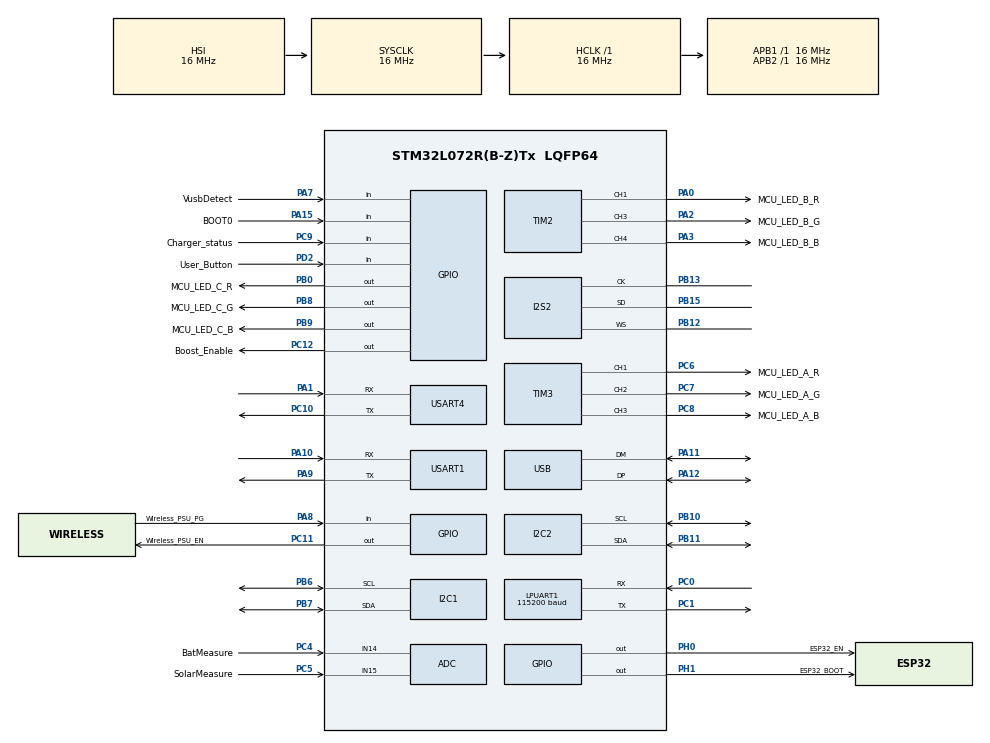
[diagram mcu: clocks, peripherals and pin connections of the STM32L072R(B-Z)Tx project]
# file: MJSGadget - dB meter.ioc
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ADC.DiscontinuousConvMode=ENABLE
Dma.I2C1_RX.1.Direction=DMA_PERIPH_TO_MEMORY
Dma.I2C1_RX.1.Instance=DMA1_Channel3
Dma.I2C1_RX.1.MemDataAlignment=DMA_MDATAALIGN_BYTE
Dma.I2C1_RX.1.MemInc=DMA_MINC_ENABLE
Dma.I2C1_RX.1.Mode=DMA_NORMAL
Dma.I2C1_RX.1.PeriphDataAlignment=DMA_PDATAALIGN_BYTE
Dma.I2C1_RX.1.PeriphInc=DMA_PINC_DISABLE
Dma.I2C1_RX.1.Priority=DMA_PRIORITY_LOW
Dma.I2C1_TX.2.Direction=DMA_MEMORY_TO_PERIPH
Dma.I2C1_TX.2.Instance=DMA1_Channel2
Dma.I2C1_TX.2.MemDataAlignment=DMA_MDATAALIGN_BYTE
Dma.I2C1_TX.2.MemInc=DMA_MINC_ENABLE
Dma.I2C1_TX.2.Mode=DMA_NORMAL
Dma.I2C1_TX.2.PeriphDataAlignment=DMA_PDATAALIGN_BYTE
Dma.I2C1_TX.2.PeriphInc=DMA_PINC_DISABLE
Dma.I2C1_TX.2.Priority=DMA_PRIORITY_LOW
Dma.Request0=SPI2_RX
Dma.Request1=I2C1_RX
Dma.Request2=I2C1_TX
Dma.Request3=USART4_RX
Dma.Request4=USART4_TX
Dma.SPI2_RX.0.Direction=DMA_PERIPH_TO_MEMORY
Dma.SPI2_RX.0.Instance=DMA1_Channel4
Dma.SPI2_RX.0.MemDataAlignment=DMA_MDATAALIGN_HALFWORD
Dma.SPI2_RX.0.MemInc=DMA_MINC_ENABLE
Dma.SPI2_RX.0.Mode=DMA_CIRCULAR
Dma.SPI2_RX.0.PeriphDataAlignment=DMA_PDATAALIGN_HALFWORD
Dma.SPI2_RX.0.PeriphInc=DMA_PINC_DISABLE
Dma.SPI2_RX.0.Priority=DMA_PRIORITY_LOW
Dma.USART4_RX.3.Direction=DMA_PERIPH_TO_MEMORY
Dma.USART4_RX.3.Instance=DMA1_Channel6
Dma.USART4_RX.3.MemDataAlignment=DMA_MDATAALIGN_BYTE
Dma.USART4_RX.3.MemInc=DMA_MINC_ENABLE
Dma.USART4_RX.3.Mode=DMA_CIRCULAR
Dma.USART4_RX.3.PeriphDataAlignment=DMA_PDATAALIGN_BYTE
Dma.USART4_RX.3.PeriphInc=DMA_PINC_DISABLE
Dma.USART4_RX.3.Priority=DMA_PRIORITY_LOW
Dma.USART4_TX.4.Direction=DMA_MEMORY_TO_PERIPH
Dma.USART4_TX.4.Instance=DMA1_Channel7
Dma.USART4_TX.4.MemDataAlignment=DMA_MDATAALIGN_BYTE
Dma.USART4_TX.4.MemInc=DMA_MINC_ENABLE
Dma.USART4_TX.4.Mode=DMA_NORMAL
Dma.USART4_TX.4.PeriphDataAlignment=DMA_PDATAALIGN_BYTE
Dma.USART4_TX.4.PeriphInc=DMA_PINC_DISABLE
Dma.USART4_TX.4.Priority=DMA_PRIORITY_LOW
I2C1.Timing=0x00503D58
I2C2.Timing=0x00503D58
I2S2.AudioFreq=I2S_AUDIOFREQ_16K
I2S2.CPOL=I2S_CPOL_LOW
I2S2.DataFormat=I2S_DATAFORMAT_24B
I2S2.ErrorAudioFreq=-2.34 %
I2S2.Instance=SPI$Index
I2S2.Mode=I2S_MODE_MASTER_RX
I2S2.RealAudioFreq=15.625 KHz
I2S2.Standard=I2S_STANDARD_PHILIPS
I2S2.VirtualMode=I2S_MODE_MASTER
LPUART1.BaudRate=115200
LPUART1.OverrunDisableParam=UART_ADVFEATURE_OVERRUN_DISABLE
LPUART1.SwapParam=UART_ADVFEATURE_SWAP_ENABLE
LPUART1.WordLength=UART_WORDLENGTH_8B
Mcu.Family=STM32L0
Mcu.Name=STM32L072R(B-Z)Tx
Mcu.Package=LQFP64
NVIC.DMA1_Channel2_3_IRQn=true\:0\:0\:false\:false\:true\:false\:true\:true
NVIC.DMA1_Channel4_5_6_7_IRQn=true\:3\:0\:true\:false\:true\:false\:true\:true
NVIC.I2C1_IRQn=true\:0\:0\:false\:false\:true\:true\:true\:true
NVIC.RTC_IRQn=true\:0\:0\:false\:false\:true\:true\:true\:true
NVIC.USART1_IRQn=true\:0\:0\:false\:false\:true\:true\:true\:true
NVIC.USART4_5_IRQn=true\:0\:0\:false\:false\:true\:true\:true\:true
NVIC.USB_IRQn=true\:0\:0\:false\:false\:true\:false\:true\:true
PA0.GPIO_Label=MCU_LED_B_R
PA0.Signal=S_TIM2_CH1
PA1.Mode=Asynchronous
PA1.Signal=USART4_RX
PA10.Mode=Asynchronous
PA10.Signal=USART1_RX
PA11.Mode=Device
PA11.Signal=USB_DM
PA12.Mode=Device
PA12.Signal=USB_DP
PA13.Mode=Serial_Wire
PA13.Signal=SYS_SWDIO
PA14.Mode=Serial_Wire
PA14.Signal=SYS_SWCLK
PA15.GPIO_Label=BOOT0
PA15.Signal=GPIO_Input
PA2.GPIO_Label=MCU_LED_B_G
PA2.Signal=S_TIM2_CH3
PA3.GPIO_Label=MCU_LED_B_B
PA3.Signal=S_TIM2_CH4
PA7.GPIO_Label=VusbDetect
PA7.Signal=GPIO_Input
PA8.GPIO_Label=Wireless_PSU_PG
PA8.Signal=GPIO_Input
PA9.Mode=Asynchronous
PA9.Signal=USART1_TX
PB0.GPIO_Label=MCU_LED_C_R
PB0.PinState=GPIO_PIN_SET
PB0.Signal=GPIO_Output
PB10.Mode=I2C
PB10.Signal=I2C2_SCL
PB11.Mode=I2C
PB11.Signal=I2C2_SDA
PB12.Mode=Half_Duplex_Master
PB12.Signal=I2S2_WS
PB13.Mode=Half_Duplex_Master
PB13.Signal=I2S2_CK
PB15.Mode=Half_Duplex_Master
PB15.Signal=I2S2_SD
PB6.Mode=I2C
PB6.Signal=I2C1_SCL
PB7.Mode=I2C
PB7.Signal=I2C1_SDA
PB8.GPIO_Label=MCU_LED_C_G
PB8.PinState=GPIO_PIN_SET
PB8.Signal=GPIO_Output
PB9.GPIO_Label=MCU_LED_C_B
PB9.PinState=GPIO_PIN_SET
PB9.Signal=GPIO_Output
PC0.Mode=Asynchronous
PC0.Signal=LPUART1_RX
PC1.Mode=Asynchronous
PC1.Signal=LPUART1_TX
PC10.Mode=Asynchronous
PC10.Signal=USART4_TX
PC11.GPIO_Label=Wireless_PSU_EN
PC11.PinState=GPIO_PIN_SET
PC11.Signal=GPIO_Output
PC12.GPIO_Label=Boost_Enable
PC12.Signal=GPIO_Output
PC14-OSC32_IN.Mode=LSE-External-Oscillator
PC14-OSC32_IN.Signal=RCC_OSC32_IN
PC15-OSC32_OUT.Mode=LSE-External-Oscillator
PC15-OSC32_OUT.Signal=RCC_OSC32_OUT
PC4.GPIO_Label=BatMeasure
PC4.Signal=SharedAnalog_PC4
PC5.GPIO_Label=SolarMeasure
PC5.Signal=SharedAnalog_PC5
PC6.GPIO_Label=MCU_LED_A_R
PC6.Signal=S_TIM3_CH1
PC7.GPIO_Label=MCU_LED_A_G
PC7.Signal=S_TIM3_CH2
PC8.GPIO_Label=MCU_LED_A_B
PC8.Signal=S_TIM3_CH3
PC9.GPIO_Label=Charger_status
PC9.Signal=GPIO_Input
PD2.GPIO_Label=User_Button
PD2.GPIO_PuPd=GPIO_PULLUP
PD2.Signal=GPIO_Input
PH0-OSC_IN.GPIO_Label=ESP32_EN
PH0-OSC_IN.PinState=GPIO_PIN_SET
PH0-OSC_IN.Signal=GPIO_Output
PH1-OSC_OUT.GPIO_Label=ESP32_BOOT
PH1-OSC_OUT.Signal=GPIO_Output
ProjectManager.HeapSize=0x100
ProjectManager.StackSize=0x400
ProjectManager.TargetToolchain=STM32CubeIDE
RCC.ADCFreq_Value=16000000
RCC.AHBFreq_Value=16000000
RCC.APB1Freq_Value=16000000
RCC.APB1TimFreq_Value=16000000
RCC.APB2Freq_Value=16000000
RCC.APB2TimFreq_Value=16000000
RCC.HCLKFreq_Value=16000000
RCC.HSE_VALUE=8000000
RCC.HSI16_VALUE=16000000
RCC.HSI48MClockSelection=RCC_USBCLKSOURCE_HSI48
RCC.HSI48_VALUE=48000000
RCC.HSI_VALUE=16000000
RCC.LSE_Drive_Capability=RCC_LSEDRIVE_MEDIUMHIGH
RCC.MSI_VALUE=2097000
RCC.RTCClockSelection=RCC_RTCCLKSOURCE_LSE
RCC.RTCClockSelectionVirtual=RCC_RTCCLKSOURCE_LSE
RCC.SYSCLKFreq_VALUE=16000000
RCC.SYSCLKSource=RCC_SYSCLKSOURCE_HSI
RCC.VCOOutputFreq_Value=48000000
RTC.Date=23
RTC.Format=RTC_FORMAT_BIN
RTC.Hours=13
RTC.Month=RTC_MONTH_NOVEMBER
RTC.WeekDay=RTC_WEEKDAY_SATURDAY
RTC.Year=24
SH.S_TIM2_CH1.0=TIM2_CH1,PWM Generation1 CH1
SH.S_TIM2_CH3.0=TIM2_CH3,PWM Generation3 CH3
SH.S_TIM2_CH4.0=TIM2_CH4,PWM Generation4 CH4
SH.S_TIM3_CH1.0=TIM3_CH1,PWM Generation1 CH1
SH.S_TIM3_CH2.0=TIM3_CH2,PWM Generation2 CH2
SH.S_TIM3_CH3.0=TIM3_CH3,PWM Generation3 CH3
SH.SharedAnalog_PC4.0=GPIO_Analog
SH.SharedAnalog_PC4.1=ADC_IN14,IN14
SH.SharedAnalog_PC5.0=GPIO_Analog
SH.SharedAnalog_PC5.1=ADC_IN15,IN15
TIM2.Channel-PWM\ Generation1\ CH1=TIM_CHANNEL_1
TIM2.Channel-PWM\ Generation3\ CH3=TIM_CHANNEL_3
TIM2.Channel-PWM\ Generation4\ CH4=TIM_CHANNEL_4
TIM3.Channel-PWM\ Generation1\ CH1=TIM_CHANNEL_1
TIM3.Channel-PWM\ Generation2\ CH2=TIM_CHANNEL_2
TIM3.Channel-PWM\ Generation3\ CH3=TIM_CHANNEL_3
TIM6.Prescaler=10
USART1.SwapParam=ADVFEATURE_SWAP_ENABLE
USART1.VirtualMode-Asynchronous=VM_ASYNC
USART4.SwapParam=ADVFEATURE_SWAP_DISABLE
USART4.VirtualMode-Asynchronous=VM_ASYNC
USB_DEVICE.CLASS_NAME_FS=CDC
USB_DEVICE.VirtualMode=Cdc
USB_DEVICE.VirtualModeFS=Cdc_FS
VP_RTC_VS_RTC_Activate.Mode=RTC_Enabled
VP_RTC_VS_RTC_Calendar.Mode=RTC_Calendar
VP_RTC_VS_RTC_WakeUp_intern.Mode=WakeUp
VP_TIM6_VS_ClockSourceINT.Mode=Enable_Timer
VP_USB_DEVICE_VS_USB_DEVICE_CDC_FS.Mode=CDC_FS
board=custom

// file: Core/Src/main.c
/* USER CODE BEGIN Header */
/**
  ******************************************************************************
  * @file           : main.c
  * @brief          : Main program body
  ******************************************************************************
  * @attention
  *
  * Copyright (c) 2024 STMicroelectronics.
  * All rights reserved.
  *
  * This software is licensed under terms that can be found in the LICENSE file
  * in the root directory of this software component.
  * If no LICENSE file comes with this software, it is provided AS-IS.
  *
  ******************************************************************************
  */
/* USER CODE END Header */
#include "main.h"
#include "adc.h"
#include "dma.h"
#include "i2c.h"
#include "i2s.h"
#include "usart.h"
#include "rtc.h"
#include "tim.h"
#include "usb_device.h"
#include "gpio.h"

/* USER CODE BEGIN Includes */
#include "gadget.h"
#include "utils.h"
#include "measurement.h"
#include "globals.h"
#include "ESP.h"
#include "PowerUtils.h"
#include "usbd_cdc_if.h"
#include "statusCheck.h"
#include "RealTimeClock.h"
#include "sound_measurement.h"
#include "print_functions.h"
#include "sen5x.h"
/* USER CODE END Includes */

/* USER CODE BEGIN PV */
  bool testDone = false;
  bool ESP_Programming = false;
  bool batteryEmpty = false;
  bool MeasurementBusy;
  bool sen5x_Present = false;
  bool waitforSamples = false;
  uint8_t RxData[UART_CDC_DMABUFFERSIZE] = {0};
  uint16_t IndexRxData = 0;
  uint32_t LastRxTime = 0;
  uint32_t batteryReadTimer = 0;
  uint32_t timeReadTimer = 0;
  uint32_t sleepTime = 0;
  uint16_t size = 0;

  Battery_Status charge;
  ESP_States ESP_Status;
  extern DMA_HandleTypeDef hdma_spi2_rx;

/* USER CODE END PV */

void SystemClock_Config(void);
/* USER CODE BEGIN PFP */
void SetTestDone(){
  testDone = true;
//  Info("testDone true in SetTestDone\r\n");
  HAL_Delay(1000);
  SetDBLED(false, false, true);
  SetStatusLED(4000, 4000, 3000);
  SetVocLED(4000, 4000, 3000);
  HAL_Delay(1000);
  SetDBLED(false, false, false);
  SetStatusLED(4000, 4000, 4000);
  SetVocLED(4000, 4000, 4000);
  InitDone();
}

void FlashLEDs(){
  for (uint8_t i=0; i<5 ; i++){
    SetDBLED(true, true, true);
    SetStatusLED(4000, 4000, 3000);
    SetVocLED(4000, 4000, 3000);
    HAL_Delay(250);
    SetLEDsOff();
    HAL_Delay(250);
  }
}

void ESP_Programming_Read_Remaining_DMA()
{
  //ESP programmer section

  if (LastRxTime != 0 && ESP_Programming)
  {
    if ((LastRxTime + 100) < HAL_GetTick()) //120
    {
      HAL_UART_DMAPause(&hlpuart1);
      size = __HAL_DMA_GET_COUNTER(hlpuart1.hdmarx);
      if (size > (UART_CDC_DMABUFFERSIZE / 2))
      {
        size = UART_CDC_DMABUFFERSIZE - size;
      }
      else
      {
        size = (UART_CDC_DMABUFFERSIZE / 2) - size;
      }
      if (size > 0)
      {
        CDC_Transmit_FS(&RxData[IndexRxData], size);
        LastRxTime = 0;
        IndexRxData += size;
      }
      HAL_UART_DMAResume(&hlpuart1);
    }
  }
}
//void HAL_UART_RxCpltCallback(UART_HandleTypeDef *huart)
//{
//  // printf_USB("\r\nDMA counter Full: %d\r\nDMA size Full: %d\r\n", __HAL_DMA_GET_COUNTER(hlpuart1.hdmarx), size);
//  //printf_USB("DMA size Full: %d\r\n", size);
//
//  if (huart->Instance == LPUART1)
//  {
//    CDC_Transmit_FS(&RxData[IndexRxData], (UART_CDC_DMABUFFERSIZE / 2) - size);
//
//    size = 0;
//    IndexRxData = 0;
//    LastRxTime = HAL_GetTick();
//  }
//}
/* USER CODE END PFP */

/* USER CODE BEGIN 0 */
uint8_t u1_rx_buff[16];  // rxbuffer for serial logger

/* USER CODE END 0 */

int main(void)
{

  /* MCU Configuration--------------------------------------------------------*/

  /* Reset of all peripherals, Initializes the Flash interface and the Systick. */
  HAL_Init();

  /* Configure the system clock */
  SystemClock_Config();

  /* Initialize all configured peripherals */
  MX_GPIO_Init();
  MX_DMA_Init();
  MX_I2C1_Init();
  MX_I2S2_Init();
  MX_USART1_UART_Init();
  MX_I2C2_Init();
  MX_TIM2_Init();
  MX_TIM3_Init();
  MX_USART4_UART_Init();
  MX_ADC_Init();
  MX_USB_DEVICE_Init();
  MX_RTC_Init();
  MX_LPUART1_UART_Init();
  MX_TIM6_Init();
  /* USER CODE BEGIN 2 */
  // General TODO 's
	/*
	 * : Put SSID in EEPROM
	 * : Turn on heater if humidity is too high
	 * : LEDs indicator for air quality
	 * : Default network: Sensor community
	 * : Different modes for outside and inside (check solar or check LED on/off mode?)
	 * : Add CLI via usb-c
	 * : Network not found? Sleep
	 */
  GPIO_InitPWMLEDs(&htim2, &htim3);
  if(UserButton_Pressed()){
    EnableESPProg();
    ESP_Programming = true;
  }
  //uint32_t LedBlinkTimestamp = HAL_GetTick() + LED_BLINK_INTERVAL;
  SetVerboseLevel(VERBOSE_ALL);
  BinaryReleaseInfo();
  HAL_UART_Receive_IT(&huart1, u1_rx_buff, 1);
  InitClock(&hrtc);

  if (!soundInit(&hdma_spi2_rx, &hi2s2, &htim6, DMA1_Channel4_5_6_7_IRQn))
  {
      errorHandler(__func__, __LINE__, __FILE__);
  }

  Gadget_Init(&hi2c1, &hi2s2, &huart4, &hadc);
  Debug("Clock init done");
  if (!probe_sen5x()) {
    sen5x_Present = true; // not present
    sen5x_Power_Off();      // switch off buck converter
    Debug("sen5x sensor not detected, polling disabled.");
  }
  /* USER CODE END 2 */

  /* Infinite loop */
  /* USER CODE BEGIN WHILE */
  while (1) {
	  // Upkeep gadget
    if(testDone && !ESP_Programming && !batteryEmpty){
      MeasurementBusy = UpkeepGadget();
      ESP_Status = ESP_Upkeep();

    }
    if(!testDone && !ESP_Programming && !batteryEmpty){
      Gadget_Test();
    }
    Status_Upkeep();
    if(TimestampIsReached(batteryReadTimer)){
      charge = Battery_Upkeep();
      batteryReadTimer  = HAL_GetTick() + 60000;
    }

    if(((charge > BATTERY_LOW) || (charge == USB_PLUGGED_IN)) && sen5x_Present) {
      if  (charge > BATTERY_LOW) {
        sen5x_statemachine(0);
      }
      else {
        if (charge == USB_PLUGGED_IN) {
          sen5x_statemachine(USB_PLUGGED_IN);
        }
        else  {
          Info("Battery level insufficient for sen5x operation");
        }
      }
    }

    if(charge == BATTERY_LOW || charge == BATTERY_CRITICAL){
      FlashLEDs();
    }
    if(charge == BATTERY_CRITICAL && ESP_Status == ESP_STATE_RESET){
      batteryEmpty = true;
      Enter_Standby_Mode(); // we are going in deep sleep, nearly off and no wakeup from RTC
    }
    else{
      batteryEmpty = false;
    }
    if (!usbPluggedIn && !userToggle && ESPTransmitDone && !EspTurnedOn) {
      // ok to operate on battery
      Enter_Stop_Mode(880);
    }

    //    if(TimestampIsReached(LedBlinkTimestamp)) {
    // Red LED
//
//      LedBlinkTimestamp = HAL_GetTick() + LED_BLINK_INTERVAL;
//    }

    // Optional colours:
    // Red, Yellow, Magenta, White, Cyan, Blue, Green.  black ;)

    /* USER CODE END WHILE */

  }
}

void SystemClock_Config(void)
{
  RCC_OscInitTypeDef RCC_OscInitStruct = {0};
  RCC_ClkInitTypeDef RCC_ClkInitStruct = {0};
  RCC_PeriphCLKInitTypeDef PeriphClkInit = {0};

  /** Configure the main internal regulator output voltage
  */
  __HAL_PWR_VOLTAGESCALING_CONFIG(PWR_REGULATOR_VOLTAGE_SCALE1);

  /** Configure LSE Drive Capability
  */
  HAL_PWR_EnableBkUpAccess();
  __HAL_RCC_LSEDRIVE_CONFIG(RCC_LSEDRIVE_MEDIUMHIGH);

  /** Initializes the RCC Oscillators according to the specified parameters
  * in the RCC_OscInitTypeDef structure.
  */
  RCC_OscInitStruct.OscillatorType = RCC_OSCILLATORTYPE_HSI|RCC_OSCILLATORTYPE_LSE
                              |RCC_OSCILLATORTYPE_HSI48;
  RCC_OscInitStruct.LSEState = RCC_LSE_ON;
  RCC_OscInitStruct.HSIState = RCC_HSI_ON;
  RCC_OscInitStruct.HSICalibrationValue = RCC_HSICALIBRATION_DEFAULT;
  RCC_OscInitStruct.HSI48State = RCC_HSI48_ON;
  RCC_OscInitStruct.PLL.PLLState = RCC_PLL_NONE;
  if (HAL_RCC_OscConfig(&RCC_OscInitStruct) != HAL_OK)
  {
    Error_Handler();
  }

  /** Initializes the CPU, AHB and APB buses clocks
  */
  RCC_ClkInitStruct.ClockType = RCC_CLOCKTYPE_HCLK|RCC_CLOCKTYPE_SYSCLK
                              |RCC_CLOCKTYPE_PCLK1|RCC_CLOCKTYPE_PCLK2;
  RCC_ClkInitStruct.SYSCLKSource = RCC_SYSCLKSOURCE_HSI;
  RCC_ClkInitStruct.AHBCLKDivider = RCC_SYSCLK_DIV1;
  RCC_ClkInitStruct.APB1CLKDivider = RCC_HCLK_DIV1;
  RCC_ClkInitStruct.APB2CLKDivider = RCC_HCLK_DIV1;

  if (HAL_RCC_ClockConfig(&RCC_ClkInitStruct, FLASH_LATENCY_0) != HAL_OK)
  {
    Error_Handler();
  }
  PeriphClkInit.PeriphClockSelection = RCC_PERIPHCLK_USART1|RCC_PERIPHCLK_LPUART1
                              |RCC_PERIPHCLK_I2C1|RCC_PERIPHCLK_RTC
                              |RCC_PERIPHCLK_USB;
  PeriphClkInit.Usart1ClockSelection = RCC_USART1CLKSOURCE_PCLK2;
  PeriphClkInit.Lpuart1ClockSelection = RCC_LPUART1CLKSOURCE_PCLK1;
  PeriphClkInit.I2c1ClockSelection = RCC_I2C1CLKSOURCE_PCLK1;
  PeriphClkInit.RTCClockSelection = RCC_RTCCLKSOURCE_LSE;
  PeriphClkInit.UsbClockSelection = RCC_USBCLKSOURCE_HSI48;
  if (HAL_RCCEx_PeriphCLKConfig(&PeriphClkInit) != HAL_OK)
  {
    Error_Handler();
  }
}

/* USER CODE BEGIN 4 */
// Provide a print interface for print_functions.
void printString(const char * str, uint16_t length)
{
    HAL_UART_Transmit(&huart1, (uint8_t*) str, length, 0xFFFF);
}

void HAL_UART_RxCpltCallback(UART_HandleTypeDef *huart)
{
  HAL_UART_Receive_IT(&huart1, u1_rx_buff, 1);
  switch (u1_rx_buff[0]){
    case (uint8_t)'a':
      printf("VerboseLevel set to all\r\n");
      SetVerboseLevel(VERBOSE_ALL);
      break;
    case (uint8_t)'f':
      forceNTPupdate();  // sync the time now
    break;
    case (uint8_t)'i':
      printf("VerboseLevel set to info\r\n");
      SetVerboseLevel(VERBOSE_INFO);
      break;
    case (uint8_t)'m':
      printf("VerboseLevel set to minimal\r\n");
      SetVerboseLevel(VERBOSE_MINIMAL);
      break;
    case (uint8_t)'n':
      printf("VerboseLevel set to none\r\n");
      SetVerboseLevel(VERBOSE_NONE);
      break;
    case (uint8_t)'s':
      sen5xReadTimer = HAL_GetTick();  // on request fire up the sen5x
      break;
    case (uint8_t)'t':
      showTime(); // show me the current time
      break;
    default:
      Error("Error unknown request from Serial UART1 (TTY)\r\n");
      printf("Possible commands:\r\n\r\n");
      printf("a - VerboseLevel set to all\r\n");
      printf("f - Force NTP time synchronization\r\n");
      printf("i - VerboseLevel set to info\r\n");
      printf("m - VerboseLevel set to minimal\r\n");
      printf("n - VerboseLevel set to none\r\n");
      printf("s - Start particle measurement\r\n");
      printf("t - Show actual systemtime\r\n");
  break;
  }
  HAL_UART_Receive_IT(&huart1, u1_rx_buff, 1); //Re-arm the interrupt
}

void HAL_GPIO_EXTI_Callback(uint16_t GPIO_Pin)
{
  /* Prevent unused argument(s) compilation warning */
  UNUSED(GPIO_Pin);
  if (GPIO_Pin == BOOT0_Pin) {
    setuserToggle();
  }
}

/* USER CODE END 4 */

void Error_Handler(void)
{
  /* USER CODE BEGIN Error_Handler_Debug */
  /* User can add his own implementation to report the HAL error return state */
  Error("Trapped in Error_Handler, wait for reset");
  __disable_irq();
  while (1)
  {
  }
  /* USER CODE END Error_Handler_Debug */
}
